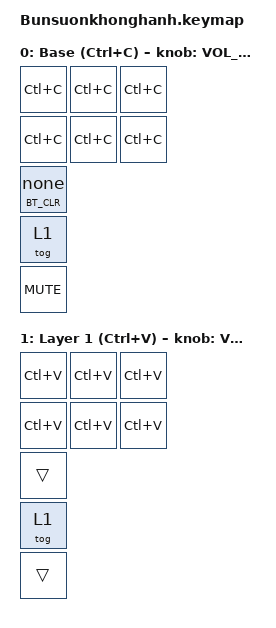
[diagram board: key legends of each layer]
/*
 * Copyright (c) 2026 The ZMK Contributors
 * SPDX-License-Identifier: MIT
 */

#include <behaviors.dtsi>
#include <dt-bindings/zmk/keys.h>
#include <dt-bindings/zmk/bt.h>
#include <dt-bindings/zmk/outputs.h>

/ {
    behaviors {
        // Nút phụ 1: Nhấn nhanh không làm gì, giữ 5s (5000ms) để ngắt/xóa kết nối Bluetooth
        bt_ht: bt_hold_tap {
            compatible = "zmk,behavior-hold-tap";
            #binding-cells = <2>;
            flavor = "hold-preferred";
            tapping-term-ms = <5000>;
            bindings = <&bt>, <&none>;
        };

        // Giữ combo cả 2 nút phụ 5s (5000ms) để khởi động lại (reboot) mạch
        reboot_ht: reboot_hold_tap {
            compatible = "zmk,behavior-hold-tap";
            #binding-cells = <2>;
            flavor = "hold-preferred";
            tapping-term-ms = <5000>;
            bindings = <&bootloader>, <&none>;
        };
    };

    combos {
        compatible = "zmk,combos";

        // Bấm đồng thời nút phụ 1 (vị trí 6) và nút phụ 2 (vị trí 7) rồi giữ 5s để reboot
        combo_reboot {
            timeout-ms = <100>;
            key-positions = <6 7>;
            bindings = <&reboot_ht 0 0>;
        };
    };

    keymap {
        compatible = "zmk,keymap";

        default_layer {
            display-name = "Base (Ctrl+C)";
            bindings = <
                &kp LC(C)    &kp LC(C)    &kp LC(C)
                &kp LC(C)    &kp LC(C)    &kp LC(C)
                &bt_ht BT_CLR 0
                &tog 1
                &kp C_MUTE
            >;
            sensor-bindings = <&inc_dec_kp C_VOL_UP C_VOL_DN>;
        };

        layer_1 {
            display-name = "Layer 1 (Ctrl+V)";
            bindings = <
                &kp LC(V)    &kp LC(V)    &kp LC(V)
                &kp LC(V)    &kp LC(V)    &kp LC(V)
                &trans
                &tog 1
                &trans
            >;
            sensor-bindings = <&inc_dec_kp C_VOL_UP C_VOL_DN>;
        };
    };
};
